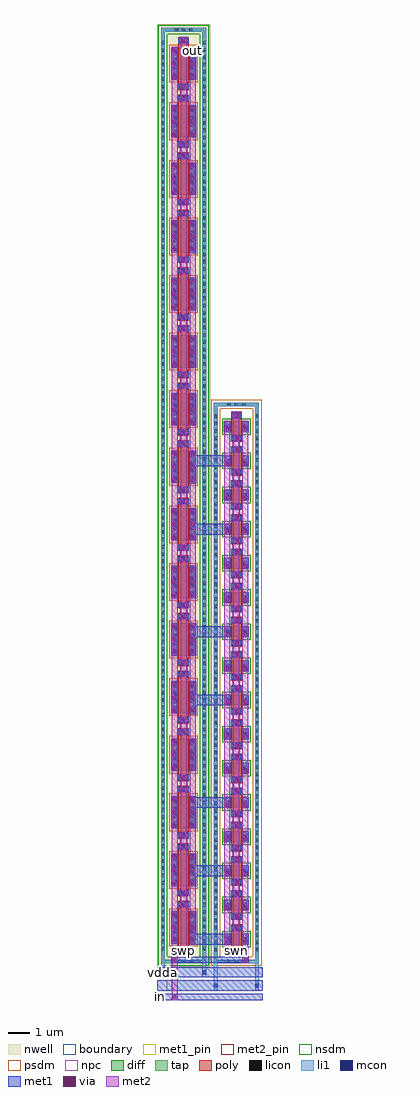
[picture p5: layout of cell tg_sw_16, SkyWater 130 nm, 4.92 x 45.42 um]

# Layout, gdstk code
import gdstk
lib = gdstk.Library(unit=1e-6, precision=1e-09)
def R(c, l, rs):  # rectangles x0, y0, x1, y1
    for r in rs: c.add(gdstk.rectangle(r[:2], r[2:], *l))
def A(c, l, x, y, w, h, nx, ny, dx, dy):  # array of equal rectangles
    R(c, l, [(x+i*dx, y+j*dy, x+i*dx+w, y+j*dy+h) for i in range(nx) for j in range(ny)])
nwell = (64, 20)
diff = (65, 20)
tap = (65, 44)
poly = (66, 20)
licon = (66, 44)
li1 = (67, 20)
mcon = (67, 44)
met1_pin = (68, 16)
met1 = (68, 20)
via = (68, 44)
met2_pin = (69, 16)
met2 = (69, 20)
nsdm = (93, 44)
psdm = (94, 20)
npc = (95, 20)
boundary = (235, 4)

sky130_fd_pr__nfet_01v8_ = lib.new_cell('sky130_fd_pr__nfet_01v8_GPU48F')
A(sky130_fd_pr__nfet_01v8_, diff, -0.54, -12.175, 1.08, 0.5, 1, 16, 0, 1.59)
R(sky130_fd_pr__nfet_01v8_, tap, [(-1.05,-13.045,1.05,-12.875), (-1.05,-12.875,-0.88,12.875), (0.88,-12.875,1.05,12.875), (-1.05,12.875,1.05,13.045)])
A(sky130_fd_pr__nfet_01v8_, poly, -0.25, -12.615, 0.5, 1.38, 1, 16, 0, 1.59)
A(sky130_fd_pr__nfet_01v8_, licon, -0.425, -13.045, 0.17, 0.17, 3, 2, 0.34, 25.92)
A(sky130_fd_pr__nfet_01v8_, licon, -1.05, -12.495, 0.17, 0.17, 1, 17, 0, 0.34)
A(sky130_fd_pr__nfet_01v8_, licon, 0.88, -12.495, 0.17, 0.17, 1, 17, 0, 0.34)
A(sky130_fd_pr__nfet_01v8_, licon, -0.48, -12.01, 0.17, 0.17, 1, 16, 0, 1.59)
A(sky130_fd_pr__nfet_01v8_, licon, 0.31, -12.01, 0.17, 0.17, 1, 16, 0, 1.59)
A(sky130_fd_pr__nfet_01v8_, licon, -1.05, -6.715, 0.17, 0.17, 3, 2, 0.965, 13.26)
A(sky130_fd_pr__nfet_01v8_, licon, -1.05, -6.375, 0.17, 0.17, 1, 38, 0, 0.34)
A(sky130_fd_pr__nfet_01v8_, licon, 0.88, -6.375, 0.17, 0.17, 1, 38, 0, 0.34)
A(sky130_fd_pr__nfet_01v8_, licon, -1.05, 6.885, 0.17, 0.17, 1, 17, 0, 0.34)
A(sky130_fd_pr__nfet_01v8_, licon, 0.88, 6.885, 0.17, 0.17, 1, 17, 0, 0.34)
R(sky130_fd_pr__nfet_01v8_, licon, [(-0.085,-12.535,0.085,-12.365), (-0.085,-11.485,0.085,-11.315), (-0.085,-10.945,0.085,-10.775), (-0.085,-9.895,0.085,-9.725), (-0.085,-9.355,0.085,-9.185), (-0.085,-8.305,0.085,-8.135), (-0.085,-7.765,0.085,-7.595), (-0.085,-6.175,0.085,-6.005), (-0.085,-5.125,0.085,-4.955), (-0.085,-4.585,0.085,-4.415), (-0.085,-3.535,0.085,-3.365), (-0.085,-2.995,0.085,-2.825), (-0.085,-1.945,0.085,-1.775), (-0.085,-1.405,0.085,-1.235), (-0.085,-0.355,0.085,-0.185), (-0.085,0.185,0.085,0.355), (-0.085,1.235,0.085,1.405), (-0.085,1.775,0.085,1.945), (-0.085,2.825,0.085,2.995), (-0.085,3.365,0.085,3.535), (-0.085,4.415,0.085,4.585), (-0.085,4.955,0.085,5.125), (-0.085,6.005,0.085,6.175), (-0.085,7.595,0.085,7.765), (-0.085,8.135,0.085,8.305), (-0.085,9.185,0.085,9.355), (-0.085,9.725,0.085,9.895), (-0.085,10.775,0.085,10.945), (-0.085,11.315,0.085,11.485), (-0.085,12.365,0.085,12.535)])
A(sky130_fd_pr__nfet_01v8_, li1, -0.48, -12.195, 0.17, 0.54, 1, 16, 0, 1.59)
A(sky130_fd_pr__nfet_01v8_, li1, 0.31, -12.195, 0.17, 0.54, 1, 16, 0, 1.59)
R(sky130_fd_pr__nfet_01v8_, li1, [(-1.05,-13.045,1.05,-12.875), (-1.05,-12.875,-0.88,12.875), (0.88,-12.875,1.05,12.875), (-0.25,-12.535,0.25,-12.365), (-0.25,-11.485,0.25,-11.315), (-0.25,-10.945,0.25,-10.775), (-0.25,-9.895,0.25,-9.725), (-0.25,-9.355,0.25,-9.185), (-0.25,-8.305,0.25,-8.135), (-0.25,-7.765,0.25,-7.595), (-0.25,-6.715,0.25,-6.545), (-0.25,-6.175,0.25,-6.005), (-0.25,-5.125,0.25,-4.955), (-0.25,-4.585,0.25,-4.415), (-0.25,-3.535,0.25,-3.365), (-0.25,-2.995,0.25,-2.825), (-0.25,-1.945,0.25,-1.775), (-0.25,-1.405,0.25,-1.235), (-0.25,-0.355,0.25,-0.185), (-0.25,0.185,0.25,0.355), (-0.25,1.235,0.25,1.405), (-0.25,1.775,0.25,1.945), (-0.25,2.825,0.25,2.995), (-0.25,3.365,0.25,3.535), (-0.25,4.415,0.25,4.585), (-0.25,4.955,0.25,5.125), (-0.25,6.005,0.25,6.175), (-0.25,6.545,0.25,6.715), (-0.25,7.595,0.25,7.765), (-0.25,8.135,0.25,8.305), (-0.25,9.185,0.25,9.355), (-0.25,9.725,0.25,9.895), (-0.25,10.775,0.25,10.945), (-0.25,11.315,0.25,11.485), (-0.25,12.365,0.25,12.535), (-1.05,12.875,1.05,13.045)])
A(sky130_fd_pr__nfet_01v8_, mcon, -0.48, -12.01, 0.17, 0.17, 1, 16, 0, 1.59)
A(sky130_fd_pr__nfet_01v8_, mcon, 0.31, -12.01, 0.17, 0.17, 1, 16, 0, 1.59)
R(sky130_fd_pr__nfet_01v8_, mcon, [(-0.085,-12.535,0.085,-12.365), (-0.085,-11.485,0.085,-11.315), (-0.085,-10.945,0.085,-10.775), (-0.085,-9.895,0.085,-9.725), (-0.085,-9.355,0.085,-9.185), (-0.085,-8.305,0.085,-8.135), (-0.085,-7.765,0.085,-7.595), (-0.085,-6.715,0.085,-6.545), (-0.085,-6.175,0.085,-6.005), (-0.085,-5.125,0.085,-4.955), (-0.085,-4.585,0.085,-4.415), (-0.085,-3.535,0.085,-3.365), (-0.085,-2.995,0.085,-2.825), (-0.085,-1.945,0.085,-1.775), (-0.085,-1.405,0.085,-1.235), (-0.085,-0.355,0.085,-0.185), (-0.085,0.185,0.085,0.355), (-0.085,1.235,0.085,1.405), (-0.085,1.775,0.085,1.945), (-0.085,2.825,0.085,2.995), (-0.085,3.365,0.085,3.535), (-0.085,4.415,0.085,4.585), (-0.085,4.955,0.085,5.125), (-0.085,6.005,0.085,6.175), (-0.085,6.545,0.085,6.715), (-0.085,7.595,0.085,7.765), (-0.085,8.135,0.085,8.305), (-0.085,9.185,0.085,9.355), (-0.085,9.725,0.085,9.895), (-0.085,10.775,0.085,10.945), (-0.085,11.315,0.085,11.485), (-0.085,12.365,0.085,12.535)])
A(sky130_fd_pr__nfet_01v8_, met1, -0.51, -12.175, 0.23, 0.5, 1, 16, 0, 1.59)
A(sky130_fd_pr__nfet_01v8_, met1, 0.28, -12.175, 0.23, 0.5, 1, 16, 0, 1.59)
R(sky130_fd_pr__nfet_01v8_, met1, [(-0.23,-12.565,0.23,-12.335), (-0.23,-11.515,0.23,-11.285), (-0.23,-10.975,0.23,-10.745), (-0.23,-9.925,0.23,-9.695), (-0.23,-9.385,0.23,-9.155), (-0.23,-8.335,0.23,-8.105), (-0.23,-7.795,0.23,-7.565), (-0.23,-6.745,0.23,-6.515), (-0.23,-6.205,0.23,-5.975), (-0.23,-5.155,0.23,-4.925), (-0.23,-4.615,0.23,-4.385), (-0.23,-3.565,0.23,-3.335), (-0.23,-3.025,0.23,-2.795), (-0.23,-1.975,0.23,-1.745), (-0.23,-1.435,0.23,-1.205), (-0.23,-0.385,0.23,-0.155), (-0.23,0.155,0.23,0.385), (-0.23,1.205,0.23,1.435), (-0.23,1.745,0.23,1.975), (-0.23,2.795,0.23,3.025), (-0.23,3.335,0.23,3.565), (-0.23,4.385,0.23,4.615), (-0.23,4.925,0.23,5.155), (-0.23,5.975,0.23,6.205), (-0.23,6.515,0.23,6.745), (-0.23,7.565,0.23,7.795), (-0.23,8.105,0.23,8.335), (-0.23,9.155,0.23,9.385), (-0.23,9.695,0.23,9.925), (-0.23,10.745,0.23,10.975), (-0.23,11.285,0.23,11.515), (-0.23,12.335,0.23,12.565)])
A(sky130_fd_pr__nfet_01v8_, nsdm, -0.665, -12.3, 1.33, 0.75, 1, 16, 0, 1.59)
R(sky130_fd_pr__nfet_01v8_, psdm, [(-1.175,-13.17,1.175,-12.75), (-1.175,-12.75,-0.755,12.75), (0.755,-12.75,1.175,12.75), (-1.175,12.75,1.175,13.17)])
A(sky130_fd_pr__nfet_01v8_, npc, -0.185, -11.585, 0.37, 0.91, 1, 15, 0, 1.59)
R(sky130_fd_pr__nfet_01v8_, npc, [(-0.185,-12.635,0.185,-12.265), (-0.185,12.265,0.185,12.635)])
R(sky130_fd_pr__nfet_01v8_, boundary, [(-0.965,-12.96,0.965,12.96)])

sky130_fd_pr__pfet_01v8_ = lib.new_cell('sky130_fd_pr__pfet_01v8_GN49S6')
R(sky130_fd_pr__pfet_01v8_, nwell, [(-1.23,-21.945,1.23,21.945)])
A(sky130_fd_pr__pfet_01v8_, diff, -0.54, -20.85, 1.08, 1.5, 1, 16, 0, 2.68)
R(sky130_fd_pr__pfet_01v8_, tap, [(-1.05,-21.765,1.05,-21.595), (-1.05,-21.595,-0.88,21.595), (0.88,-21.595,1.05,21.595), (-1.05,21.595,1.05,21.765)])
A(sky130_fd_pr__pfet_01v8_, poly, -0.25, -21.335, 0.5, 2.47, 1, 16, 0, 2.68)
A(sky130_fd_pr__pfet_01v8_, licon, -0.425, -21.765, 0.17, 0.17, 3, 2, 0.34, 43.36)
A(sky130_fd_pr__pfet_01v8_, licon, -1.05, -21.165, 0.17, 0.17, 1, 125, 0, 0.34)
A(sky130_fd_pr__pfet_01v8_, licon, 0.88, -21.165, 0.17, 0.17, 1, 125, 0, 0.34)
A(sky130_fd_pr__pfet_01v8_, licon, -0.48, -20.695, 0.17, 0.17, 1, 4, 0, 0.34)
A(sky130_fd_pr__pfet_01v8_, licon, 0.31, -20.695, 0.17, 0.17, 1, 4, 0, 0.34)
A(sky130_fd_pr__pfet_01v8_, licon, -0.48, -18.015, 0.17, 0.17, 1, 4, 0, 0.34)
A(sky130_fd_pr__pfet_01v8_, licon, 0.31, -18.015, 0.17, 0.17, 1, 4, 0, 0.34)
A(sky130_fd_pr__pfet_01v8_, licon, -0.48, -15.335, 0.17, 0.17, 1, 4, 0, 0.34)
A(sky130_fd_pr__pfet_01v8_, licon, 0.31, -15.335, 0.17, 0.17, 1, 4, 0, 0.34)
A(sky130_fd_pr__pfet_01v8_, licon, -0.48, -12.655, 0.17, 0.17, 1, 4, 0, 0.34)
A(sky130_fd_pr__pfet_01v8_, licon, 0.31, -12.655, 0.17, 0.17, 1, 4, 0, 0.34)
A(sky130_fd_pr__pfet_01v8_, licon, -0.48, -9.975, 0.17, 0.17, 1, 4, 0, 0.34)
A(sky130_fd_pr__pfet_01v8_, licon, 0.31, -9.975, 0.17, 0.17, 1, 4, 0, 0.34)
A(sky130_fd_pr__pfet_01v8_, licon, -0.48, -7.295, 0.17, 0.17, 1, 4, 0, 0.34)
A(sky130_fd_pr__pfet_01v8_, licon, 0.31, -7.295, 0.17, 0.17, 1, 4, 0, 0.34)
A(sky130_fd_pr__pfet_01v8_, licon, -0.48, -4.615, 0.17, 0.17, 1, 4, 0, 0.34)
A(sky130_fd_pr__pfet_01v8_, licon, 0.31, -4.615, 0.17, 0.17, 1, 4, 0, 0.34)
A(sky130_fd_pr__pfet_01v8_, licon, -0.48, -1.935, 0.17, 0.17, 1, 4, 0, 0.34)
A(sky130_fd_pr__pfet_01v8_, licon, 0.31, -1.935, 0.17, 0.17, 1, 4, 0, 0.34)
A(sky130_fd_pr__pfet_01v8_, licon, -0.48, 0.745, 0.17, 0.17, 1, 4, 0, 0.34)
A(sky130_fd_pr__pfet_01v8_, licon, 0.31, 0.745, 0.17, 0.17, 1, 4, 0, 0.34)
A(sky130_fd_pr__pfet_01v8_, licon, -0.48, 3.425, 0.17, 0.17, 1, 4, 0, 0.34)
A(sky130_fd_pr__pfet_01v8_, licon, 0.31, 3.425, 0.17, 0.17, 1, 4, 0, 0.34)
A(sky130_fd_pr__pfet_01v8_, licon, -0.48, 6.105, 0.17, 0.17, 1, 4, 0, 0.34)
A(sky130_fd_pr__pfet_01v8_, licon, 0.31, 6.105, 0.17, 0.17, 1, 4, 0, 0.34)
A(sky130_fd_pr__pfet_01v8_, licon, -0.48, 8.785, 0.17, 0.17, 1, 4, 0, 0.34)
A(sky130_fd_pr__pfet_01v8_, licon, 0.31, 8.785, 0.17, 0.17, 1, 4, 0, 0.34)
A(sky130_fd_pr__pfet_01v8_, licon, -0.48, 11.465, 0.17, 0.17, 1, 4, 0, 0.34)
A(sky130_fd_pr__pfet_01v8_, licon, 0.31, 11.465, 0.17, 0.17, 1, 4, 0, 0.34)
A(sky130_fd_pr__pfet_01v8_, licon, -0.48, 14.145, 0.17, 0.17, 1, 4, 0, 0.34)
A(sky130_fd_pr__pfet_01v8_, licon, 0.31, 14.145, 0.17, 0.17, 1, 4, 0, 0.34)
A(sky130_fd_pr__pfet_01v8_, licon, -0.48, 16.825, 0.17, 0.17, 1, 4, 0, 0.34)
A(sky130_fd_pr__pfet_01v8_, licon, 0.31, 16.825, 0.17, 0.17, 1, 4, 0, 0.34)
A(sky130_fd_pr__pfet_01v8_, licon, -0.48, 19.505, 0.17, 0.17, 1, 4, 0, 0.34)
A(sky130_fd_pr__pfet_01v8_, licon, 0.31, 19.505, 0.17, 0.17, 1, 4, 0, 0.34)
R(sky130_fd_pr__pfet_01v8_, licon, [(-0.085,-21.255,0.085,-21.085), (-0.085,-19.115,0.085,-18.945), (-0.085,-18.575,0.085,-18.405), (-0.085,-16.435,0.085,-16.265), (-0.085,-15.895,0.085,-15.725), (-0.085,-13.755,0.085,-13.585), (-0.085,-13.215,0.085,-13.045), (-0.085,-11.075,0.085,-10.905), (-0.085,-10.535,0.085,-10.365), (-0.085,-8.395,0.085,-8.225), (-0.085,-7.855,0.085,-7.685), (-0.085,-5.715,0.085,-5.545), (-0.085,-5.175,0.085,-5.005), (-0.085,-3.035,0.085,-2.865), (-0.085,-2.495,0.085,-2.325), (-0.085,-0.355,0.085,-0.185), (-0.085,0.185,0.085,0.355), (-0.085,2.325,0.085,2.495), (-0.085,2.865,0.085,3.035), (-0.085,5.005,0.085,5.175), (-0.085,5.545,0.085,5.715), (-0.085,7.685,0.085,7.855), (-0.085,8.225,0.085,8.395), (-0.085,10.365,0.085,10.535), (-0.085,10.905,0.085,11.075), (-0.085,13.045,0.085,13.215), (-0.085,13.585,0.085,13.755), (-0.085,15.725,0.085,15.895), (-0.085,16.265,0.085,16.435), (-0.085,18.405,0.085,18.575), (-0.085,18.945,0.085,19.115), (-0.085,21.085,0.085,21.255)])
A(sky130_fd_pr__pfet_01v8_, li1, -0.48, -20.87, 0.17, 1.54, 1, 16, 0, 2.68)
A(sky130_fd_pr__pfet_01v8_, li1, 0.31, -20.87, 0.17, 1.54, 1, 16, 0, 2.68)
R(sky130_fd_pr__pfet_01v8_, li1, [(-1.05,-21.765,1.05,-21.595), (-1.05,-21.595,-0.88,21.595), (0.88,-21.595,1.05,21.595), (-0.25,-21.255,0.25,-21.085), (-0.25,-19.115,0.25,-18.945), (-0.25,-18.575,0.25,-18.405), (-0.25,-16.435,0.25,-16.265), (-0.25,-15.895,0.25,-15.725), (-0.25,-13.755,0.25,-13.585), (-0.25,-13.215,0.25,-13.045), (-0.25,-11.075,0.25,-10.905), (-0.25,-10.535,0.25,-10.365), (-0.25,-8.395,0.25,-8.225), (-0.25,-7.855,0.25,-7.685), (-0.25,-5.715,0.25,-5.545), (-0.25,-5.175,0.25,-5.005), (-0.25,-3.035,0.25,-2.865), (-0.25,-2.495,0.25,-2.325), (-0.25,-0.355,0.25,-0.185), (-0.25,0.185,0.25,0.355), (-0.25,2.325,0.25,2.495), (-0.25,2.865,0.25,3.035), (-0.25,5.005,0.25,5.175), (-0.25,5.545,0.25,5.715), (-0.25,7.685,0.25,7.855), (-0.25,8.225,0.25,8.395), (-0.25,10.365,0.25,10.535), (-0.25,10.905,0.25,11.075), (-0.25,13.045,0.25,13.215), (-0.25,13.585,0.25,13.755), (-0.25,15.725,0.25,15.895), (-0.25,16.265,0.25,16.435), (-0.25,18.405,0.25,18.575), (-0.25,18.945,0.25,19.115), (-0.25,21.085,0.25,21.255), (-1.05,21.595,1.05,21.765)])
A(sky130_fd_pr__pfet_01v8_, mcon, -0.48, -20.725, 0.17, 0.17, 1, 4, 0, 0.36)
A(sky130_fd_pr__pfet_01v8_, mcon, 0.31, -20.725, 0.17, 0.17, 1, 4, 0, 0.36)
A(sky130_fd_pr__pfet_01v8_, mcon, -0.48, -18.045, 0.17, 0.17, 1, 4, 0, 0.36)
A(sky130_fd_pr__pfet_01v8_, mcon, 0.31, -18.045, 0.17, 0.17, 1, 4, 0, 0.36)
A(sky130_fd_pr__pfet_01v8_, mcon, -0.48, -15.365, 0.17, 0.17, 1, 4, 0, 0.36)
A(sky130_fd_pr__pfet_01v8_, mcon, 0.31, -15.365, 0.17, 0.17, 1, 4, 0, 0.36)
A(sky130_fd_pr__pfet_01v8_, mcon, -0.48, -12.685, 0.17, 0.17, 1, 4, 0, 0.36)
A(sky130_fd_pr__pfet_01v8_, mcon, 0.31, -12.685, 0.17, 0.17, 1, 4, 0, 0.36)
A(sky130_fd_pr__pfet_01v8_, mcon, -0.48, -10.005, 0.17, 0.17, 1, 4, 0, 0.36)
A(sky130_fd_pr__pfet_01v8_, mcon, 0.31, -10.005, 0.17, 0.17, 1, 4, 0, 0.36)
A(sky130_fd_pr__pfet_01v8_, mcon, -0.48, -7.325, 0.17, 0.17, 1, 4, 0, 0.36)
A(sky130_fd_pr__pfet_01v8_, mcon, 0.31, -7.325, 0.17, 0.17, 1, 4, 0, 0.36)
A(sky130_fd_pr__pfet_01v8_, mcon, -0.48, -4.645, 0.17, 0.17, 1, 4, 0, 0.36)
A(sky130_fd_pr__pfet_01v8_, mcon, 0.31, -4.645, 0.17, 0.17, 1, 4, 0, 0.36)
A(sky130_fd_pr__pfet_01v8_, mcon, -0.48, -1.965, 0.17, 0.17, 1, 4, 0, 0.36)
A(sky130_fd_pr__pfet_01v8_, mcon, 0.31, -1.965, 0.17, 0.17, 1, 4, 0, 0.36)
A(sky130_fd_pr__pfet_01v8_, mcon, -0.48, 0.715, 0.17, 0.17, 1, 4, 0, 0.36)
A(sky130_fd_pr__pfet_01v8_, mcon, 0.31, 0.715, 0.17, 0.17, 1, 4, 0, 0.36)
A(sky130_fd_pr__pfet_01v8_, mcon, -0.48, 3.395, 0.17, 0.17, 1, 4, 0, 0.36)
A(sky130_fd_pr__pfet_01v8_, mcon, 0.31, 3.395, 0.17, 0.17, 1, 4, 0, 0.36)
A(sky130_fd_pr__pfet_01v8_, mcon, -0.48, 6.075, 0.17, 0.17, 1, 4, 0, 0.36)
A(sky130_fd_pr__pfet_01v8_, mcon, 0.31, 6.075, 0.17, 0.17, 1, 4, 0, 0.36)
A(sky130_fd_pr__pfet_01v8_, mcon, -0.48, 8.755, 0.17, 0.17, 1, 4, 0, 0.36)
A(sky130_fd_pr__pfet_01v8_, mcon, 0.31, 8.755, 0.17, 0.17, 1, 4, 0, 0.36)
A(sky130_fd_pr__pfet_01v8_, mcon, -0.48, 11.435, 0.17, 0.17, 1, 4, 0, 0.36)
A(sky130_fd_pr__pfet_01v8_, mcon, 0.31, 11.435, 0.17, 0.17, 1, 4, 0, 0.36)
A(sky130_fd_pr__pfet_01v8_, mcon, -0.48, 14.115, 0.17, 0.17, 1, 4, 0, 0.36)
A(sky130_fd_pr__pfet_01v8_, mcon, 0.31, 14.115, 0.17, 0.17, 1, 4, 0, 0.36)
A(sky130_fd_pr__pfet_01v8_, mcon, -0.48, 16.795, 0.17, 0.17, 1, 4, 0, 0.36)
A(sky130_fd_pr__pfet_01v8_, mcon, 0.31, 16.795, 0.17, 0.17, 1, 4, 0, 0.36)
A(sky130_fd_pr__pfet_01v8_, mcon, -0.48, 19.475, 0.17, 0.17, 1, 4, 0, 0.36)
A(sky130_fd_pr__pfet_01v8_, mcon, 0.31, 19.475, 0.17, 0.17, 1, 4, 0, 0.36)
R(sky130_fd_pr__pfet_01v8_, mcon, [(-0.085,-21.255,0.085,-21.085), (-0.085,-19.115,0.085,-18.945), (-0.085,-18.575,0.085,-18.405), (-0.085,-16.435,0.085,-16.265), (-0.085,-15.895,0.085,-15.725), (-0.085,-13.755,0.085,-13.585), (-0.085,-13.215,0.085,-13.045), (-0.085,-11.075,0.085,-10.905), (-0.085,-10.535,0.085,-10.365), (-0.085,-8.395,0.085,-8.225), (-0.085,-7.855,0.085,-7.685), (-0.085,-5.715,0.085,-5.545), (-0.085,-5.175,0.085,-5.005), (-0.085,-3.035,0.085,-2.865), (-0.085,-2.495,0.085,-2.325), (-0.085,-0.355,0.085,-0.185), (-0.085,0.185,0.085,0.355), (-0.085,2.325,0.085,2.495), (-0.085,2.865,0.085,3.035), (-0.085,5.005,0.085,5.175), (-0.085,5.545,0.085,5.715), (-0.085,7.685,0.085,7.855), (-0.085,8.225,0.085,8.395), (-0.085,10.365,0.085,10.535), (-0.085,10.905,0.085,11.075), (-0.085,13.045,0.085,13.215), (-0.085,13.585,0.085,13.755), (-0.085,15.725,0.085,15.895), (-0.085,16.265,0.085,16.435), (-0.085,18.405,0.085,18.575), (-0.085,18.945,0.085,19.115), (-0.085,21.085,0.085,21.255)])
A(sky130_fd_pr__pfet_01v8_, met1, -0.51, -20.85, 0.23, 1.5, 1, 16, 0, 2.68)
A(sky130_fd_pr__pfet_01v8_, met1, 0.28, -20.85, 0.23, 1.5, 1, 16, 0, 2.68)
R(sky130_fd_pr__pfet_01v8_, met1, [(-0.23,-21.285,0.23,-21.055), (-0.23,-19.145,0.23,-18.915), (-0.23,-18.605,0.23,-18.375), (-0.23,-16.465,0.23,-16.235), (-0.23,-15.925,0.23,-15.695), (-0.23,-13.785,0.23,-13.555), (-0.23,-13.245,0.23,-13.015), (-0.23,-11.105,0.23,-10.875), (-0.23,-10.565,0.23,-10.335), (-0.23,-8.425,0.23,-8.195), (-0.23,-7.885,0.23,-7.655), (-0.23,-5.745,0.23,-5.515), (-0.23,-5.205,0.23,-4.975), (-0.23,-3.065,0.23,-2.835), (-0.23,-2.525,0.23,-2.295), (-0.23,-0.385,0.23,-0.155), (-0.23,0.155,0.23,0.385), (-0.23,2.295,0.23,2.525), (-0.23,2.835,0.23,3.065), (-0.23,4.975,0.23,5.205), (-0.23,5.515,0.23,5.745), (-0.23,7.655,0.23,7.885), (-0.23,8.195,0.23,8.425), (-0.23,10.335,0.23,10.565), (-0.23,10.875,0.23,11.105), (-0.23,13.015,0.23,13.245), (-0.23,13.555,0.23,13.785), (-0.23,15.695,0.23,15.925), (-0.23,16.235,0.23,16.465), (-0.23,18.375,0.23,18.605), (-0.23,18.915,0.23,19.145), (-0.23,21.055,0.23,21.285)])
R(sky130_fd_pr__pfet_01v8_, nsdm, [(-1.175,-21.89,1.175,-21.47), (-1.175,-21.47,-0.755,21.47), (0.755,-21.47,1.175,21.47), (-1.175,21.47,1.175,21.89)])
A(sky130_fd_pr__pfet_01v8_, psdm, -0.665, -20.975, 1.33, 1.75, 1, 16, 0, 2.68)
A(sky130_fd_pr__pfet_01v8_, npc, -0.185, -19.215, 0.37, 0.91, 1, 15, 0, 2.68)
R(sky130_fd_pr__pfet_01v8_, npc, [(-0.185,-21.355,0.185,-20.985), (-0.185,20.985,0.185,21.355)])
R(sky130_fd_pr__pfet_01v8_, boundary, [(-0.965,-21.68,0.965,21.68)])

tg_sw_16 = lib.new_cell('tg_sw_16')
R(tg_sw_16, li1, [(4.065,-11.48,4.235,-10.03), (5.995,-11.48,6.165,-10.03), (1.605,-10.86,1.775,-10.03), (3.535,-10.86,3.705,-10.03)])
R(tg_sw_16, mcon, [(4.065,-11.325,4.235,-11.155), (5.995,-11.325,6.165,-11.155), (1.605,-10.705,1.775,-10.535), (3.535,-10.705,3.705,-10.535)])
R(tg_sw_16, met1_pin, [(1.425,-11.91,1.715,-11.62), (1.425,-11.48,1.905,-11), (1.425,-10.86,1.905,-10.38)])
A(tg_sw_16, met1, 2.915, -9.33, 1.94, 0.5, 1, 3, 0, 3.18)
A(tg_sw_16, met1, 5.375, -9.33, 0.32, 0.5, 1, 16, 0, 1.59)
A(tg_sw_16, met1, 2.075, -9.285, 0.32, 1.5, 1, 16, 0, 2.68)
A(tg_sw_16, met1, 4.535, -7.74, 0.32, 0.5, 1, 3, 0, 3.18)
A(tg_sw_16, met1, 2.915, -1.245, 0.32, 1.5, 1, 3, 0, 8.04)
A(tg_sw_16, met1, 4.535, 0.21, 0.32, 0.5, 1, 3, 0, 3.18)
A(tg_sw_16, met1, 4.535, 8.16, 0.32, 0.5, 1, 3, 0, 3.18)
A(tg_sw_16, met1, 2.915, 25.555, 0.32, 1.5, 1, 3, 0, 2.68)
R(tg_sw_16, met1, [(1.425,-11.91,6.345,-11.62), (1.425,-11.48,6.345,-11), (1.425,-10.86,6.345,-10.38), (2.075,-10.165,5.695,-9.905), (2.425,-9.735,2.885,-9.475), (4.885,-9.735,5.345,-9.475), (2.915,-8.83,3.235,-7.785), (4.885,-8.685,5.345,-8.425), (4.885,-8.145,5.345,-7.885), (2.425,-7.595,2.885,-7.335), (4.885,-7.095,5.345,-6.835), (2.425,-7.055,2.885,-6.795), (2.915,-6.605,3.235,-6.15), (4.885,-6.555,5.345,-6.295), (2.915,-5.65,3.235,-5.105), (4.885,-5.505,5.345,-5.245), (4.885,-4.965,5.345,-4.705), (2.425,-4.915,2.885,-4.655), (2.425,-4.375,2.885,-4.115), (2.915,-3.925,3.235,-2.97), (4.885,-3.915,5.345,-3.655), (4.885,-3.375,5.345,-3.115), (2.915,-2.47,3.235,-2.425), (4.885,-2.325,5.345,-2.065), (2.425,-2.235,2.885,-1.975), (4.885,-1.785,5.345,-1.525), (2.425,-1.695,2.885,-1.435), (4.885,-0.735,5.345,-0.475), (4.885,-0.195,5.345,0.065), (2.425,0.445,2.885,0.705), (4.885,0.855,5.345,1.115), (2.425,0.985,2.885,1.245), (2.915,1.39,3.235,1.8), (4.885,1.395,5.345,1.655), (2.915,1.8,4.855,2.3), (2.915,2.3,3.235,2.935), (4.885,2.445,5.345,2.705), (4.885,2.985,5.345,3.245), (2.425,3.125,2.885,3.385), (2.425,3.665,2.885,3.925), (4.885,4.035,5.345,4.295), (2.915,4.115,3.235,4.98), (4.885,4.575,5.345,4.835), (2.915,4.98,4.855,5.48), (2.915,5.48,3.235,5.615), (4.885,5.625,5.345,5.885), (2.425,5.805,2.885,6.065), (4.885,6.165,5.345,6.425), (2.425,6.345,2.885,6.605), (4.885,7.215,5.345,7.475), (4.885,7.755,5.345,8.015), (2.425,8.485,2.885,8.745), (4.885,8.805,5.345,9.065), (2.425,9.025,2.885,9.285), (4.885,9.345,5.345,9.605), (2.915,9.475,3.235,9.75), (2.915,9.75,4.855,10.25), (2.915,10.25,3.235,10.975), (4.885,10.395,5.345,10.655), (4.885,10.935,5.345,11.195), (2.425,11.165,2.885,11.425), (2.425,11.705,2.885,11.965), (4.885,11.985,5.345,12.245), (2.915,12.11,3.235,12.93), (4.885,12.525,5.345,12.785), (2.915,12.93,4.855,13.43), (2.915,13.43,3.235,13.655), (4.885,13.575,5.345,13.835), (2.425,13.845,2.885,14.105), (4.885,14.115,5.345,14.375), (2.425,14.385,2.885,14.645), (4.885,15.165,5.345,15.425), (2.425,16.525,2.885,16.785), (2.425,17.065,2.885,17.325), (2.915,17.515,3.235,19.015), (2.425,19.205,2.885,19.465), (2.425,19.745,2.885,20.005), (2.915,20.195,3.235,21.695), (2.425,21.885,2.885,22.145), (2.425,22.425,2.885,22.685), (2.915,22.83,3.235,24.375), (2.425,24.565,2.885,24.825), (2.425,25.105,2.885,25.365), (2.425,27.245,2.885,27.505), (2.425,27.785,2.885,28.045), (2.425,29.925,2.885,30.185), (2.425,30.465,2.885,30.725), (2.425,32.605,2.885,32.865)])
A(tg_sw_16, via, 4.62, -9.275, 0.15, 0.15, 1, 16, 0, 1.59)
A(tg_sw_16, via, 5.46, -9.275, 0.15, 0.15, 1, 16, 0, 1.59)
A(tg_sw_16, via, 2.16, -9.23, 0.15, 0.15, 1, 3, 0, 0.62)
A(tg_sw_16, via, 3, -9.23, 0.15, 0.15, 1, 3, 0, 0.62)
A(tg_sw_16, via, 2.16, -6.55, 0.15, 0.15, 1, 3, 0, 0.62)
A(tg_sw_16, via, 3, -6.55, 0.15, 0.15, 1, 3, 0, 0.62)
A(tg_sw_16, via, 2.16, -3.87, 0.15, 0.15, 1, 3, 0, 0.62)
A(tg_sw_16, via, 3, -3.87, 0.15, 0.15, 1, 3, 0, 0.62)
A(tg_sw_16, via, 2.16, -1.19, 0.15, 0.15, 1, 3, 0, 0.62)
A(tg_sw_16, via, 3, -1.19, 0.15, 0.15, 1, 3, 0, 0.62)
A(tg_sw_16, via, 2.16, 1.49, 0.15, 0.15, 1, 3, 0, 0.62)
A(tg_sw_16, via, 3, 1.49, 0.15, 0.15, 1, 3, 0, 0.62)
A(tg_sw_16, via, 2.16, 4.17, 0.15, 0.15, 1, 3, 0, 0.62)
A(tg_sw_16, via, 3, 4.17, 0.15, 0.15, 1, 3, 0, 0.62)
A(tg_sw_16, via, 2.16, 6.85, 0.15, 0.15, 1, 3, 0, 0.62)
A(tg_sw_16, via, 3, 6.85, 0.15, 0.15, 1, 3, 0, 0.62)
A(tg_sw_16, via, 2.16, 9.53, 0.15, 0.15, 1, 3, 0, 0.62)
A(tg_sw_16, via, 3, 9.53, 0.15, 0.15, 1, 3, 0, 0.62)
A(tg_sw_16, via, 2.16, 12.21, 0.15, 0.15, 1, 3, 0, 0.62)
A(tg_sw_16, via, 3, 12.21, 0.15, 0.15, 1, 3, 0, 0.62)
A(tg_sw_16, via, 2.16, 14.89, 0.15, 0.15, 1, 3, 0, 0.62)
A(tg_sw_16, via, 3, 14.89, 0.15, 0.15, 1, 3, 0, 0.62)
A(tg_sw_16, via, 2.16, 17.57, 0.15, 0.15, 1, 3, 0, 0.62)
A(tg_sw_16, via, 3, 17.57, 0.15, 0.15, 1, 3, 0, 0.62)
A(tg_sw_16, via, 2.16, 20.25, 0.15, 0.15, 1, 3, 0, 0.62)
A(tg_sw_16, via, 3, 20.25, 0.15, 0.15, 1, 3, 0, 0.62)
A(tg_sw_16, via, 2.16, 22.93, 0.15, 0.15, 1, 3, 0, 0.62)
A(tg_sw_16, via, 3, 22.93, 0.15, 0.15, 1, 3, 0, 0.62)
A(tg_sw_16, via, 2.16, 25.61, 0.15, 0.15, 1, 3, 0, 0.62)
A(tg_sw_16, via, 3, 25.61, 0.15, 0.15, 1, 3, 0, 0.62)
A(tg_sw_16, via, 2.16, 28.29, 0.15, 0.15, 1, 3, 0, 0.62)
A(tg_sw_16, via, 3, 28.29, 0.15, 0.15, 1, 3, 0, 0.62)
A(tg_sw_16, via, 2.16, 30.97, 0.15, 0.15, 1, 3, 0, 0.62)
A(tg_sw_16, via, 3, 30.97, 0.15, 0.15, 1, 3, 0, 0.62)
R(tg_sw_16, via, [(2.16,-11.825,2.31,-11.675), (2.16,-10.11,2.31,-9.96), (5.46,-10.11,5.61,-9.96), (2.58,-9.68,2.73,-9.53), (5.04,-9.68,5.19,-9.53), (5.04,-8.63,5.19,-8.48), (5.04,-8.09,5.19,-7.94), (2.58,-7.54,2.73,-7.39), (5.04,-7.04,5.19,-6.89), (2.58,-7,2.73,-6.85), (5.04,-6.5,5.19,-6.35), (5.04,-5.45,5.19,-5.3), (5.04,-4.91,5.19,-4.76), (2.58,-4.86,2.73,-4.71), (2.58,-4.32,2.73,-4.17), (5.04,-3.86,5.19,-3.71), (5.04,-3.32,5.19,-3.17), (5.04,-2.27,5.19,-2.12), (2.58,-2.18,2.73,-2.03), (5.04,-1.73,5.19,-1.58), (2.58,-1.64,2.73,-1.49), (5.04,-0.68,5.19,-0.53), (5.04,-0.14,5.19,0.01), (2.58,0.5,2.73,0.65), (5.04,0.91,5.19,1.06), (2.58,1.04,2.73,1.19), (5.04,1.45,5.19,1.6), (5.04,2.5,5.19,2.65), (5.04,3.04,5.19,3.19), (2.58,3.18,2.73,3.33), (2.58,3.72,2.73,3.87), (5.04,4.09,5.19,4.24), (5.04,4.63,5.19,4.78), (5.04,5.68,5.19,5.83), (2.58,5.86,2.73,6.01), (5.04,6.22,5.19,6.37), (2.58,6.4,2.73,6.55), (5.04,7.27,5.19,7.42), (5.04,7.81,5.19,7.96), (2.58,8.54,2.73,8.69), (5.04,8.86,5.19,9.01), (2.58,9.08,2.73,9.23), (5.04,9.4,5.19,9.55), (5.04,10.45,5.19,10.6), (5.04,10.99,5.19,11.14), (2.58,11.22,2.73,11.37), (2.58,11.76,2.73,11.91), (5.04,12.04,5.19,12.19), (5.04,12.58,5.19,12.73), (5.04,13.63,5.19,13.78), (2.58,13.9,2.73,14.05), (5.04,14.17,5.19,14.32), (2.58,14.44,2.73,14.59), (5.04,15.22,5.19,15.37), (2.58,16.58,2.73,16.73), (2.58,17.12,2.73,17.27), (2.58,19.26,2.73,19.41), (2.58,19.8,2.73,19.95), (2.58,21.94,2.73,22.09), (2.58,22.48,2.73,22.63), (2.58,24.62,2.73,24.77), (2.58,25.16,2.73,25.31), (2.58,27.3,2.73,27.45), (2.58,27.84,2.73,27.99), (2.58,29.98,2.73,30.13), (2.58,30.52,2.73,30.67), (2.58,32.66,2.73,32.81)])
R(tg_sw_16, met2_pin, [(2.525,-9.735,2.785,-9.475), (4.985,-9.735,5.245,-9.475), (2.945,32.155,3.205,32.415)])
R(tg_sw_16, met2, [(2.095,-11.91,2.375,32.445), (5.395,-10.195,5.675,15.05), (2.515,-9.765,2.795,32.895), (4.975,-9.765,5.255,15.455), (4.555,-9.36,4.835,15.05), (2.935,-9.315,3.215,32.445)])
tg_sw_16.add(gdstk.Reference(sky130_fd_pr__nfet_01v8_, (5.115,2.845)))
tg_sw_16.add(gdstk.Reference(sky130_fd_pr__pfet_01v8_, (2.655,11.565)))
tg_sw_16.add(gdstk.Label('vdda', (1.665,-10.62), layer=68, texttype=5))
tg_sw_16.add(gdstk.Label('swp', (2.655,-9.605), layer=69, texttype=5))
tg_sw_16.add(gdstk.Label('swn', (5.115,-9.605), layer=69, texttype=5))
tg_sw_16.add(gdstk.Label('vssa', (1.665,-11.24), layer=68, texttype=5))
tg_sw_16.add(gdstk.Label('in', (1.57,-11.765), layer=68, texttype=5))
tg_sw_16.add(gdstk.Label('out', (3.075,32.285), layer=69, texttype=5))

lib.write_gds('tg_sw_16.gds')
